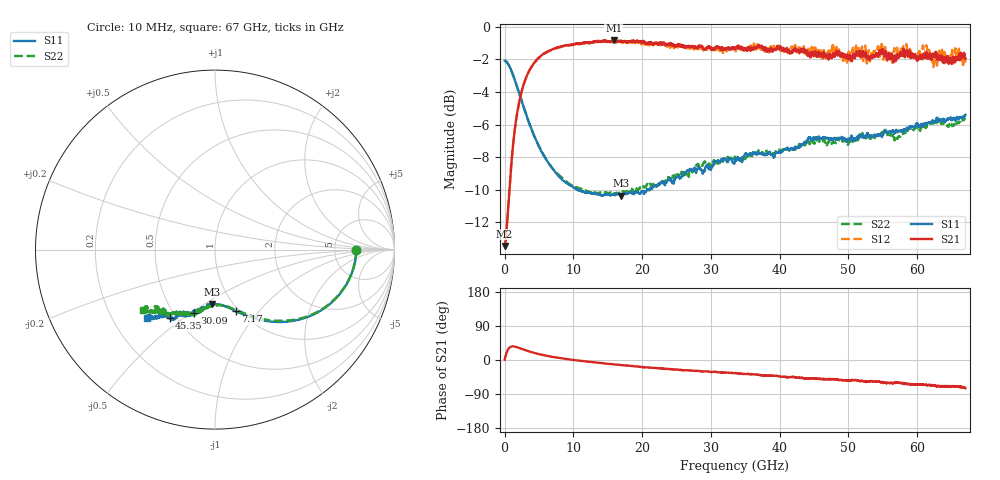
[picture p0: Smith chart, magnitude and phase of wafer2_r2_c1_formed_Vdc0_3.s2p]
!Keysight Technologies,N5227A,US51270248,A.10.65.08
!Date: Tuesday, June 11, 2024 06:36:54
!Correction: S11(Full 2 Port(1,4))
!S41(Full 2 Port(1,4))
!S14(Full 2 Port(1,4))
!S44(Full 2 Port(1,4))
!S2P File: Measurements: S11, S41, S14, S44:
# Hz S  dB  R 50
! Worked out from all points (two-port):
!   3201 points, 10 MHz to 67 GHz, reference 50 ohm
!   highest |S21| = -0.84 dB at 15.88 GHz (marker M1); lowest = -13.4 dB at 10 MHz (marker M2)
!   |S21| within 3 dB of the highest: 2.564 GHz to end of sweep
!   lowest |S11| = -10.4 dB at 16.99 GHz (marker M3), VSWR 1.87, Z = 40.3 - j26.9 ohm
!   |S11| at or under -10 dB: 10.67 GHz to 20.67 GHz (10 GHz wide, 63.8 % of centre); 20.8635 GHz to 20.9412 GHz (77.7 MHz wide, 0.372 % of centre); 20.95279 GHz to 20.99762 GHz (44.83 MHz wide, 0.214 % of centre)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
!   |S22| runs from -10.3 to -2.1 dB; largest |S21 - S12| = 0.086
!   S11 on the Smith chart (normalised r, x): 10 MHz: 8.41, -0.15; 7.17 GHz: 0.97, -0.77; 30.09 GHz: 0.63, -0.51; 45.35 GHz: 0.46, -0.44; 67 GHz: 0.35, -0.37
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1e7  -2.07 -0.2  -13.44 0.8  -13.45 0.8  -2.07 -0.2
1.161391e9  -2.87 -23.4  -7.58 35.9  -7.57 35.8  -2.88 -23.1
2.229044e9  -4.22 -39.1  -4.42 31.1  -4.41 30.9  -4.23 -38.4
4.385284e9  -6.75 -58.0  -2.18 18.4  -2.19 18.2  -6.77 -56.8
7.169556e9  -8.79 -71.3  -1.35 7.6  -1.38 7.5  -8.78 -69.5
1.118896e10  -10.08 -82.5  -1.00 -2.3  -1.05 -2.5  -9.95 -80.9
1.587826e10  -10.31 -91.9  -0.84 -11.4  -0.91 -11.2  -10.24 -91.1
1.698778e10  -10.37 -93.2  -0.88 -13.6  -0.95 -13.3  -10.23 -92.2
2.234698e10  -9.67 -99.2  -1.06 -21.5  -1.04 -21.3  -9.74 -100.1
3.00927e10  -8.65 -108.2  -1.30 -31.4  -1.33 -30.9  -8.43 -110.3
3.3505e10  -8.19 -112.6  -1.34 -34.4  -1.42 -34.6  -7.97 -116.5
4.468396e10  -6.90 -122.5  -1.61 -48.7  -1.30 -48.0  -7.05 -125.7
4.535386e10  -6.79 -123.6  -1.85 -50.0  -1.64 -49.1  -6.93 -126.5
4.782411e10  -6.86 -125.9  -1.64 -51.5  -1.54 -51.9  -7.09 -129.0
4.899644e10  -6.75 -126.9  -1.62 -52.5  -1.67 -54.4  -6.93 -130.0
5.079679e10  -6.82 -127.5  -1.80 -53.5  -1.88 -53.2  -6.95 -130.3
5.584198e10  -6.44 -129.2  -1.70 -59.8  -1.80 -60.2  -6.71 -135.1
5.730738e10  -6.37 -129.9  -1.90 -60.3  -1.66 -60.9  -6.72 -133.5
6.153613e10  -5.90 -131.4  -1.96 -67.0  -1.68 -68.1  -6.09 -136.1
6.264565e10  -5.78 -131.7  -1.62 -66.8  -1.90 -68.2  -5.82 -137.8
6.375517e10  -5.66 -133.7  -1.86 -70.2  -1.64 -70.3  -5.88 -139.9
6.7e10  -5.39 -134.8  -1.94 -73.9  -2.19 -74.8  -5.65 -140.2
